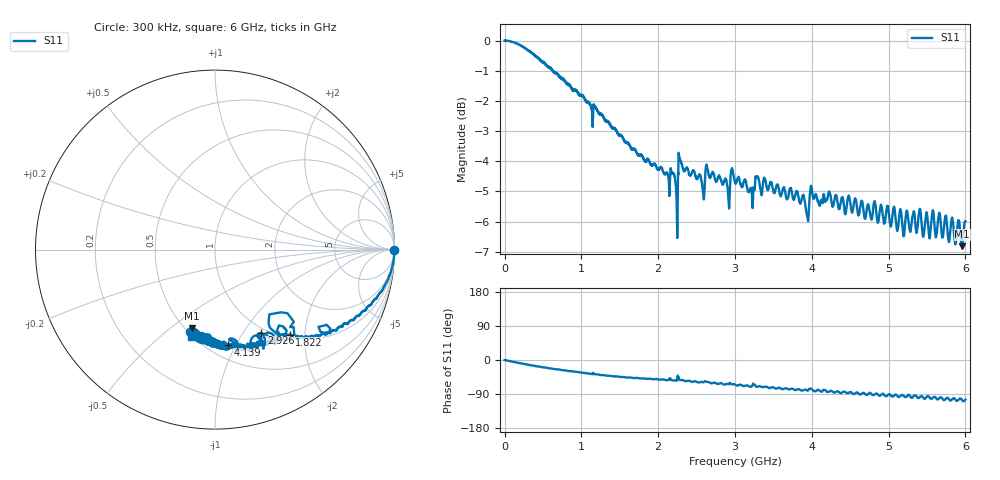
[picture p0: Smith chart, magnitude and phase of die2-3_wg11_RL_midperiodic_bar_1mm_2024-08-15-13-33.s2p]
!Keysight Technologies,P9374A,MY57304198,A.17.20.09
!Date: Thursday, August 15, 2024 13:33:48
!Correction: S11(C  1-Port  )
!S21(C  1-Port  )
!S12(Off)
!S22(Off)
!S2P File: Measurements: S11, S21, S12, S22:
# Hz S  dB  R 50
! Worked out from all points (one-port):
!   6000 points, 300 kHz to 6 GHz, reference 50 ohm
!   lowest |S11| = -6.8 dB at 5.957 GHz (marker M1), VSWR 2.68, Z = 27.1 - j30 ohm
!   |S11| at or under -10 dB: nowhere
!   S11 on the Smith chart (normalised r, x): 300 kHz: open; 1.822 GHz: 1.06, -1.68; 2.926 GHz: 0.93, -1.21; 4.139 GHz: 0.62, -0.93; 6 GHz: 0.50, -0.64
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300000  -0.00 -0.0  -200.00 45.0  -200.00 45.0  -200.00 45.0
4.183488e8  -0.53 -16.6  -200.00 45.0  -200.00 45.0  -200.00 45.0
1.000417e9  -1.80 -33.5  -200.00 45.0  -200.00 45.0  -200.00 45.0
1.429467e9  -2.93 -43.4  -200.00 45.0  -200.00 45.0  -200.00 45.0
1.821512e9  -3.99 -48.8  -200.00 45.0  -200.00 45.0  -200.00 45.0
2.000533e9  -4.28 -51.2  -200.00 45.0  -200.00 45.0  -200.00 45.0
2.219559e9  -4.60 -53.6  -200.00 45.0  -200.00 45.0  -200.00 45.0
2.240561e9  -5.37 -54.8  -200.00 45.0  -200.00 45.0  -200.00 45.0
2.282566e9  -3.94 -52.7  -200.00 45.0  -200.00 45.0  -200.00 45.0
2.520594e9  -4.51 -59.4  -200.00 45.0  -200.00 45.0  -200.00 45.0
2.584602e9  -5.04 -58.9  -200.00 45.0  -200.00 45.0  -200.00 45.0
2.633607e9  -4.14 -57.8  -200.00 45.0  -200.00 45.0  -200.00 45.0
2.925641e9  -5.48 -61.0  -200.00 45.0  -200.00 45.0  -200.00 45.0
3.00065e9  -4.69 -64.9  -200.00 45.0  -200.00 45.0  -200.00 45.0
3.868751e9  -5.26 -80.8  -200.00 45.0  -200.00 45.0  -200.00 45.0
3.93876e9  -5.79 -80.7  -200.00 45.0  -200.00 45.0  -200.00 45.0
4.000767e9  -4.90 -77.3  -200.00 45.0  -200.00 45.0  -200.00 45.0
4.037771e9  -5.16 -82.7  -200.00 45.0  -200.00 45.0  -200.00 45.0
4.138783e9  -5.37 -82.2  -200.00 45.0  -200.00 45.0  -200.00 45.0
5.000883e9  -5.68 -90.7  -200.00 45.0  -200.00 45.0  -200.00 45.0
5.956995e9  -6.82 -106.1  -200.00 45.0  -200.00 45.0  -200.00 45.0
6e9  -5.99 -104.7  -200.00 45.0  -200.00 45.0  -200.00 45.0
